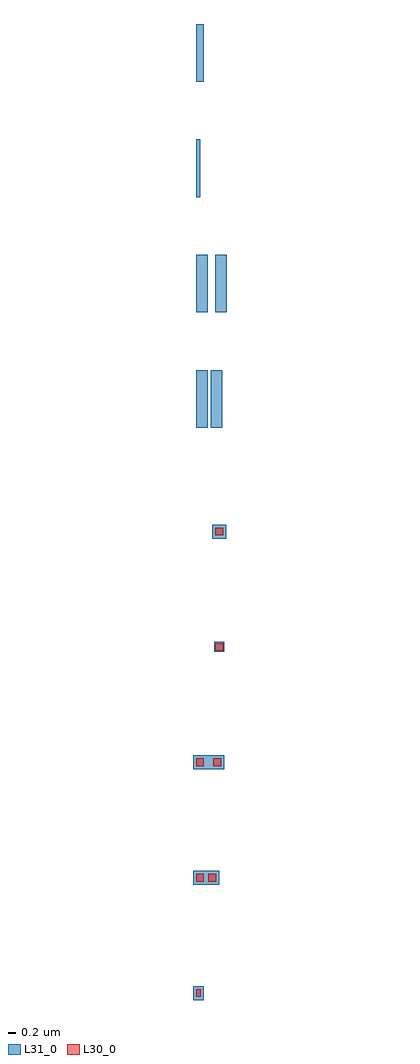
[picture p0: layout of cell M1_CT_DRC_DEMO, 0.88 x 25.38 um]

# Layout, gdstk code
import gdstk
lib = gdstk.Library(unit=1e-6, precision=1e-09)
def R(c, l, rs):  # rectangles x0, y0, x1, y1
    for r in rs: c.add(gdstk.rectangle(r[:2], r[2:], *l))
L30_0 = (30, 0)
L31_0 = (31, 0)

m1_ct_drc_demo = lib.new_cell('M1_CT_DRC_DEMO')
R(m1_ct_drc_demo, L30_0, [(8,-1.8,8.12,-1.6), (8,1.2,8.2,1.4), (8.32,1.2,8.52,1.4), (8,4.2,8.2,4.4), (8.45,4.2,8.65,4.4), (8.5,7.2,8.7,7.4), (8.5,10.2,8.7,10.4)])
R(m1_ct_drc_demo, L31_0, [(7.92,-1.88,8.2,-1.52), (7.92,1.12,8.6,1.48), (7.92,4.12,8.73,4.48), (8.47,7.17,8.73,7.43), (8.42,10.12,8.78,10.48), (8,13,8.3,14.5), (8.38,13,8.68,14.5), (8,16,8.3,17.5), (8.5,16,8.8,17.5), (8,19,8.1,20.5), (8,22,8.2,23.5)])
m1_ct_drc_demo.add(gdstk.Label('GOOD M1 width 0.20um', (0.2,22.35), layer=90, texttype=0))
m1_ct_drc_demo.add(gdstk.Label('BAD  M1 width 0.10um', (0.2,19.35), layer=90, texttype=0))
m1_ct_drc_demo.add(gdstk.Label('GOOD M1 space 0.20um', (0.2,16.35), layer=90, texttype=0))
m1_ct_drc_demo.add(gdstk.Label('BAD  M1 space 0.08um', (0.2,13.35), layer=90, texttype=0))
m1_ct_drc_demo.add(gdstk.Label('GOOD CT 0.20 + M1 enc 0.08', (0.2,10.35), layer=90, texttype=0))
m1_ct_drc_demo.add(gdstk.Label('BAD  M1 enc 0.03 (<0.055)', (0.2,7.35), layer=90, texttype=0))
m1_ct_drc_demo.add(gdstk.Label('GOOD CT space 0.25um', (0.2,4.35), layer=90, texttype=0))
m1_ct_drc_demo.add(gdstk.Label('BAD  CT space 0.12um', (0.2,1.35), layer=90, texttype=0))
m1_ct_drc_demo.add(gdstk.Label('BAD  CT width 0.12um', (0.2,-1.65), layer=90, texttype=0))
m1_ct_drc_demo.add(gdstk.Label('M1/Contact DRC demo â\x80\x94 green=pass rows, red=fail rows', (0.2,24.5), layer=90, texttype=0))
m1_ct_drc_demo.add(gdstk.Label('Layers: M1=31/0  CT=30/0  Labels=90/0', (0.2,23.8), layer=90, texttype=0))

lib.write_gds('M1_CT_DRC_DEMO.gds')
